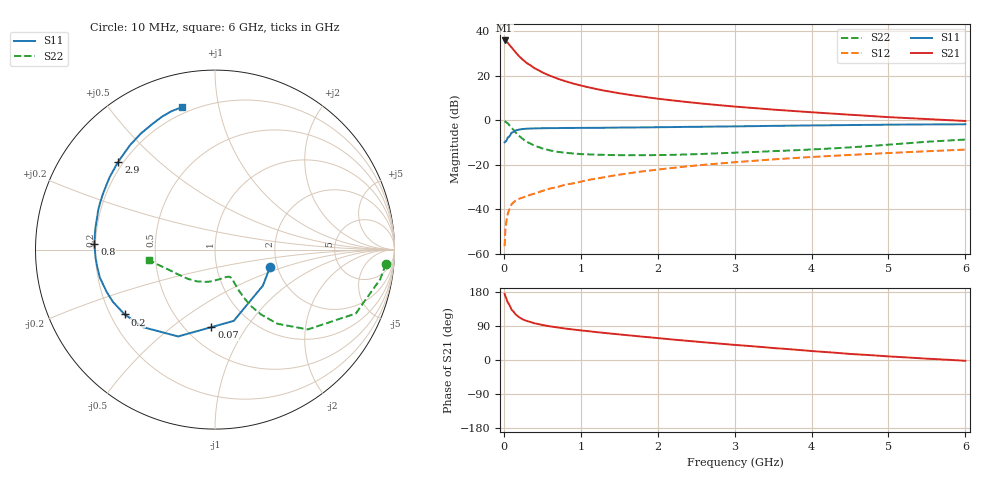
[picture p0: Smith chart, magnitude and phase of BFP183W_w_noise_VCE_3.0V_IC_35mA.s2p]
! Infineon Technologies  Discrete & RF Semiconductors
! BFP183W
! VCE =  3.0 V,  IC =  35 mA
! Common Emitter S-Parameters:  Jan 2017
# GHz  S  MA  R  50
!  f  S11  S21  S12  S22
! GHz  MAG  ANG  MAG  ANG  MAG  ANG  MAG  ANG
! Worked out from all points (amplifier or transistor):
!   77 points, 10 MHz to 6 GHz, reference 50 ohm
!   highest |S21| = 35.8 dB at 10 MHz (marker M1)
!   |S21| within 3 dB of that: start of sweep to 97.38 MHz
!   unconditionally stable (mu >= 1): 801.7 MHz to 3.42 GHz
!   at 130 MHz: K = 0.36, MSG = 34.1 dB, |S12| = -36.7 dB
!   at 2.2 GHz: K = 1.07, MAG = 13.5 dB, |S12| = -21.4 dB
!   at 6 GHz: K = 0.87, MSG = 6.4 dB, |S12| = -13.2 dB
!   lowest NFmin = 1.51 dB at 450 MHz
!   S11 on the Smith chart (normalised r, x): 10 MHz: 1.83, -0.40; 70 MHz: 0.66, -0.70; 200 MHz: 0.26, -0.30; 800 MHz: 0.20, +0.02; 2.9 GHz: 0.18, +0.38; 6 GHz: 0.17, +0.78
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0.01  0.3215 -17.8  61.79 174.8  0.0015 81.7  0.9557 -4.8
0.02  0.334 -37.0  60.98 168.3  0.0035 79.6  0.9349 -10.2
0.05  0.4107 -75.3  55.11 152.5  0.0079 68.8  0.8616 -24.4
0.07  0.4324 -92.6  49.71 145.8  0.0099 62.3  0.7826 -30.0
0.1  0.5257 -113.0  43.26 133.0  0.013 56.4  0.6821 -40.7
0.15  0.5886 -132.7  33.85 120.9  0.0157 50.4  0.5402 -49.9
0.2  0.6195 -144.3  27.17 112.7  0.0174 49.9  0.4445 -54.6
0.25  0.6384 -152.7  22.55 106.9  0.0186 48.0  0.3771 -57.3
0.3  0.6478 -158.4  19.16 102.8  0.0201 50.0  0.3288 -58.6
0.4  0.6603 -166.4  14.73 96.7  0.0227 52.3  0.2684 -59.7
0.5  0.6635 -171.9  11.89 92.4  0.026 53.7  0.2342 -59.8
0.6  0.667 -176.1  9.978 88.8  0.0294 56.2  0.211 -59.8
0.7  0.6687 -179.6  8.569 85.8  0.032 59.6  0.1958 -59.5
0.8  0.673 177.3  7.524 82.9  0.0359 60.7  0.1872 -59.8
1.1  0.6769 169.9  5.495 76.0  0.0459 62.8  0.1722 -61.9
1.5  0.6863 161.7  4.043 67.6  0.0602 64.0  0.1653 -67.7
2.1  0.7015 150.5  2.916 55.9  0.082 62.8  0.1667 -81.5
2.9  0.7277 137.7  2.106 41.6  0.1109 58.9  0.1847 -103.8
3.1  0.7339 134.8  1.97 38.4  0.118 57.7  0.19 -109.3
4.1  0.7697 121.3  1.477 22.2  0.1535 51.3  0.2259 -135.5
5.1  0.799 110.9  1.154 8.4  0.1877 44.7  0.2927 -159.0
6  0.8146 103.0  0.965 -2.1  0.2199 38.4  0.3697 -171.1
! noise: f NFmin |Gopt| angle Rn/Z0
0.45  1.51  0.29  -177  0.1
0.9  1.56  0.32  -176  0.1
1.9  2.05  0.47  -154  0.11
2.4  2.31  0.51  -151  0.16
